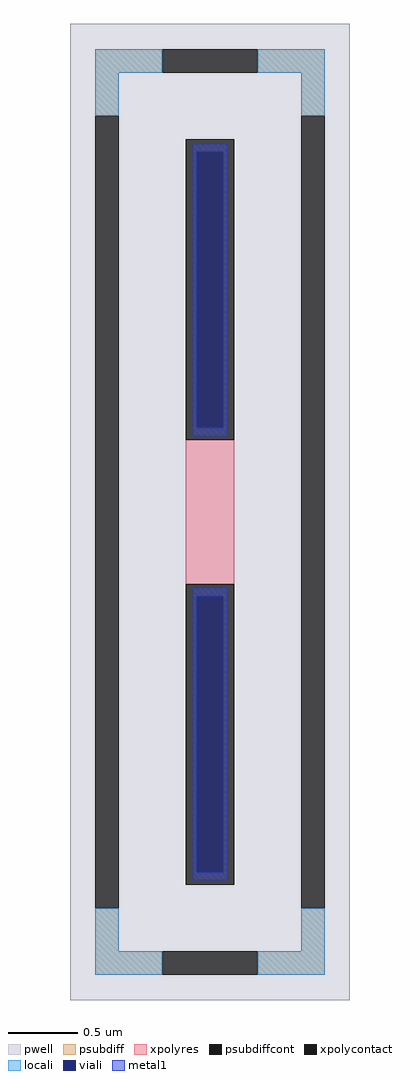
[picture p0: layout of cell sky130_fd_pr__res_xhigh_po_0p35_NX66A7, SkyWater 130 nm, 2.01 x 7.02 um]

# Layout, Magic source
magic
tech sky130A
magscale 1 2
<< pwell >>
rect -201 -702 201 702
<< psubdiff >>
rect -165 632 -69 666
rect 69 632 165 666
rect -165 570 -131 632
rect 131 570 165 632
rect -165 -632 -131 -570
rect 131 -632 165 -570
rect -165 -666 -69 -632
rect 69 -666 165 -632
<< psubdiffcont >>
rect -69 632 69 666
rect -165 -570 -131 570
rect 131 -570 165 570
rect -69 -666 69 -632
<< xpolycontact >>
rect -35 104 35 536
rect -35 -536 35 -104
<< xpolyres >>
rect -35 -104 35 104
<< locali >>
rect -165 632 -69 666
rect 69 632 165 666
rect -165 570 -131 632
rect 131 570 165 632
rect -165 -632 -131 -570
rect 131 -632 165 -570
rect -165 -666 -69 -632
rect 69 -666 165 -632
<< viali >>
rect -19 121 19 518
rect -19 -518 19 -121
<< metal1 >>
rect -25 518 25 530
rect -25 121 -19 518
rect 19 121 25 518
rect -25 109 25 121
rect -25 -121 25 -109
rect -25 -518 -19 -121
rect 19 -518 25 -121
rect -25 -530 25 -518
<< properties >>
string FIXED_BBOX -148 -649 148 649
string gencell sky130_fd_pr__res_xhigh_po_0p35
string library sky130
string parameters w 0.350 l 1.2 m 1 nx 1 wmin 0.350 lmin 0.50 class resistor rho 2000 val 7.932k dummy 0 dw 0.0 term 188.2 sterm 0.0 caplen 0 wmax 0.350 guard 1 glc 1 grc 1 gtc 1 gbc 1 compatible {sky130_fd_pr__res_xhigh_po_0p35  sky130_fd_pr__res_xhigh_po_0p69 sky130_fd_pr__res_xhigh_po_1p41  sky130_fd_pr__res_xhigh_po_2p85 sky130_fd_pr__res_xhigh_po_5p73} snake 0 full_metal 1 n_guard 0 hv_guard 0 vias 1 viagb 0 viagt 0 viagl 0 viagr 0 mult 1
<< end >>
